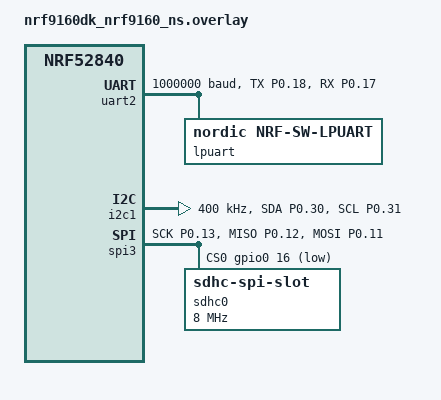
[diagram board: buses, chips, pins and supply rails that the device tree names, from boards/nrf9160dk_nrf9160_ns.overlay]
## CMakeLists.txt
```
#
# Copyright (c) 2018 Nordic Semiconductor
#
# SPDX-License-Identifier: LicenseRef-Nordic-5-Clause
#

cmake_minimum_required(VERSION 3.20.0)

find_package(Zephyr REQUIRED HINTS $ENV{ZEPHYR_BASE})
project(lte-ble-gateway)

# NORDIC SDK APP START
target_sources(app PRIVATE src/main.c)
# NORDIC SDK APP END
zephyr_include_directories(src)

include_directories(src/orientation_detector)
target_sources(app PRIVATE src/ble.c)
```

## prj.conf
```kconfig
#
# Copyright (c) 2019 Nordic Semiconductor ASA
#
# SPDX-License-Identifier: LicenseRef-Nordic-5-Clause
#
# General config
CONFIG_NEWLIB_LIBC=y
CONFIG_NEWLIB_LIBC_FLOAT_PRINTF=y
CONFIG_ASSERT=y
CONFIG_REBOOT=y

# Network
CONFIG_NETWORKING=y
CONFIG_NET_NATIVE=n
CONFIG_NET_SOCKETS=y
CONFIG_NET_SOCKETS_OFFLOAD=y

# AT host
CONFIG_AT_HOST_LIBRARY=y

# Modem library
CONFIG_NRF_MODEM_LIB=y
# Modem library fault handling
# CONFIG_NRF_MODEM_LIB_ON_FAULT_APPLICATION_SPECIFIC=y

# Disable Modem traces, since we need UART1 for HCI
CONFIG_NRF_MODEM_LIB_TRACE=n

# Modem info
CONFIG_MODEM_INFO=y
CONFIG_MODEM_INFO_ADD_NETWORK=y

# Logging
CONFIG_LOG=y
CONFIG_LTE_BLE_GW_LOG_LEVEL_INF=y

# Library for buttons and LEDs
CONFIG_DK_LIBRARY=y

# Console for user association
CONFIG_CONSOLE_SUBSYS=y
CONFIG_CONSOLE_GETCHAR=y

# Enable Bluetooth stack and libraries
CONFIG_BT=y
CONFIG_BT_H4=y
CONFIG_BT_WAIT_NOP=y
CONFIG_BT_PERIPHERAL=y
CONFIG_BT_DEVICE_NAME="Kobeni"
CONFIG_BT_MAX_CONN=1
CONFIG_BT_DEVICE_APPEARANCE=0

CONFIG_UART_INTERRUPT_DRIVEN=y

# Heap and stacks
CONFIG_HEAP_MEM_POOL_SIZE=16384
CONFIG_MAIN_STACK_SIZE=8192
CONFIG_SYSTEM_WORKQUEUE_STACK_SIZE=4096

CONFIG_LOG_BUFFER_SIZE=16384

CONFIG_GPIO=y

CONFIG_I2C=y

CONFIG_SPI=y
CONFIG_DISK_DRIVER_SDMMC=y
CONFIG_FILE_SYSTEM=y
CONFIG_FAT_FILESYSTEM_ELM=y
CONFIG_DISK_ACCESS=y
CONFIG_SD_UHS_PROTOCOL=y
CONFIG_FS_FATFS_EXFAT=y
CONFIG_SPI_SDHC=y

#GNSS Antenna
CONFIG_MODEM_ANTENNA_GNSS_EXTERNAL=y

# Request eDRX from the network
CONFIG_LTE_EDRX_REQ=y

# LTE link control
CONFIG_LTE_LINK_CONTROL=y
CONFIG_LTE_AUTO_INIT_AND_CONNECT=n
CONFIG_LTE_NETWORK_MODE_NBIOT_GPS=y
```

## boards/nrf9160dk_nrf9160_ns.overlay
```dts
#include <nrf9160dk_nrf52840_reset_on_if5.dtsi>

/ {
	chosen {
		zephyr,bt-uart=&lpuart;
	};
};

&gpiote {
	interrupts = <49 NRF_DEFAULT_IRQ_PRIORITY>;
};

&uart2 {
	current-speed = <1000000>;
	status = "okay";
	/delete-property/ hw-flow-control;

	pinctrl-0 = <&uart2_default_alt>;
	pinctrl-1 = <&uart2_sleep_alt>;
	pinctrl-names = "default", "sleep";
	lpuart: nrf-sw-lpuart {
		compatible = "nordic,nrf-sw-lpuart";
		status = "okay";
		req-pin = <21>; /* <&interface_to_nrf52840 3 0>; */
		rdy-pin = <19>; /* <&interface_to_nrf52840 2 0>; */
	};
};

&pinctrl {
	uart2_default_alt: uart2_default_alt {
		group1 {
			psels = <NRF_PSEL(UART_TX, 0, 18)>,
				<NRF_PSEL(UART_RX, 0, 17)>;
		};
	};

	uart2_sleep_alt: uart2_sleep_alt {
		group1 {
			psels = <NRF_PSEL(UART_TX, 0, 18)>,
				<NRF_PSEL(UART_RX, 0, 17)>;
			low-power-enable;
		};
	};

	i2c1_default: i2c1_default {
		group1 {
			psels = <NRF_PSEL(TWIM_SDA, 0, 30)>,
				<NRF_PSEL(TWIM_SCL, 0, 31)>;
		};
	};

	i2c1_sleep: i2c1_sleep {
		group1 {
			psels = <NRF_PSEL(TWIM_SDA, 0, 30)>,
				<NRF_PSEL(TWIM_SCL, 0, 31)>;
			low-power-enable;
		};
	};

	spi3_default: spi3_default {
		group1 {
			psels = <NRF_PSEL(SPIM_SCK, 0, 13)>,
				<NRF_PSEL(SPIM_MISO, 0, 12)>,
				<NRF_PSEL(SPIM_MOSI, 0, 11)>;
		};
	};

	spi3_sleep: spi3_sleep {
		group1 {
			psels = <NRF_PSEL(SPIM_SCK, 0, 13)>,
				<NRF_PSEL(SPIM_MISO, 0, 12)>,
				<NRF_PSEL(SPIM_MOSI, 0, 11)>;
			low-power-enable;
		};
	};
};

&i2c1 {
	status = "okay";
	compatible = "nordic,nrf-twim";
    pinctrl-0 = <&i2c1_default>;
	pinctrl-1 = <&i2c1_sleep>;
	clock-frequency = <400000>;
	pinctrl-names = "default", "sleep";
};

&i2c2 {
	status = "disabled";
};

&spi3 {
	compatible = "nordic,nrf-spim";
	status = "okay";
	cs-gpios = <&gpio0 16 GPIO_ACTIVE_LOW>;
	pinctrl-0 = <&spi3_default>;
	pinctrl-1 = <&spi3_sleep>;
	pinctrl-names = "default", "sleep";
	sdhc0: sdhc@0 {
		compatible = "zephyr,sdhc-spi-slot";
		reg = <0>;
		status = "okay";
		sdmmc-disk {
			compatible = "zephyr,sdmmc-disk";
			status = "okay";
		};
		spi-max-frequency = <8000000>;
	};
};
```

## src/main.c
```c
/*
 * Copyright (c) 2018 Nordic Semiconductor ASA
 *
 * SPDX-License-Identifier: LicenseRef-Nordic-5-Clause
 */

#include <zephyr/kernel.h>
#include <stdio.h>
#include <string.h>
#include <nrf_modem_at.h>
#include <nrf_modem_gnss.h>
#include <zephyr/drivers/sensor.h>
#include <zephyr/console/console.h>
#include <dk_buttons_and_leds.h>
#include <modem/lte_lc.h>
#include <zephyr/sys/reboot.h>
#include <modem/nrf_modem_lib.h>
#include <zephyr/logging/log.h>
#include <zephyr/drivers/i2c.h>
#include <zephyr/drivers/gpio.h>
#include <zephyr/storage/disk_access.h>
#include <zephyr/fs/fs.h>
#include <ff.h>
#include <zephyr/fs/fs_interface.h>

#define NRF_SPI_DRV_MISO_N

#include "ble.h"

LOG_MODULE_REGISTER(lte_ble_gw, CONFIG_LTE_BLE_GW_LOG_LEVEL);

struct device* i2c_accel;
uint8_t WhoAmI = 0u;
#define I2C_ACCEL_ADDR (0x19)
static struct k_work_delayable acc_fifo_h_loop;

struct device* gpio_dev;
static struct gpio_callback acc_int_callback;
static const char* disk_mount_pt = "/SD:";

int16_t tx_buffer[31] = { 0 };
int16_t rx_buffer[31] = { 0 };

static FATFS fat_fs;
/* mounting info */
static struct fs_mount_t mp = {
	.type = FS_FATFS,
	.fs_data = &fat_fs,
};

static int lsdir(const char *path);

/* Interval in milliseconds between each time status LEDs are updated. */
#define LEDS_UPDATE_INTERVAL K_MSEC(500)

/* Interval in microseconds between each time LEDs are updated when indicating
 * that an error has occurred.
 */
#define LEDS_ERROR_UPDATE_INTERVAL 250000

#define BUTTON_1 BIT(0)
#define BUTTON_2 BIT(1)
#define SWITCH_1 BIT(2)
#define SWITCH_2 BIT(3)

#define LED_ON(x) (x)
#define LED_BLINK(x) ((x) << 8)
#define LED_GET_ON(x) ((x)&0xFF)
#define LED_GET_BLINK(x) (((x) >> 8) & 0xFF)

 /* Interval in milliseconds after the device will retry cloud connection
  * if the event NRF_CLOUD_EVT_TRANSPORT_CONNECTED is not received.
  */
#define RETRY_CONNECT_WAIT K_MSEC(90000)

enum
{
	LEDS_INITIALIZING = LED_ON(0),
	LEDS_LTE_CONNECTING = LED_BLINK(DK_LED3_MSK),
	LEDS_LTE_CONNECTED = LED_ON(DK_LED3_MSK),
	LEDS_CLOUD_CONNECTING = LED_BLINK(DK_LED4_MSK),
	LEDS_CLOUD_PAIRING_WAIT = LED_BLINK(DK_LED3_MSK | DK_LED4_MSK),
	LEDS_CLOUD_CONNECTED = LED_ON(DK_LED4_MSK),
	LEDS_ERROR = LED_ON(DK_ALL_LEDS_MSK)
} display_state;

/* Variable to keep track of nRF cloud user association request. */
static atomic_val_t association_requested;

/* GNSS data */
static struct nrf_modem_gnss_pvt_data_frame pvt_data = { 0 };

/* Structures for work */
static struct k_work_delayable leds_update_work;
struct k_work_delayable aggregated_work;

static struct nrf_modem_gnss_pvt_data_frame last_pvt;
static bool nrf_modem_gnss_fix;

/* Forward declaration of functions. */
static void sensors_init(void);
static void work_init(void);

static void gnss_event_handler(int event_id)
{
	int err;

	struct nrf_modem_gnss_nmea_data_frame* nmea_data;
	/* Process event */
	switch (event_id)
	{
	case NRF_MODEM_GNSS_EVT_PVT:
		/* Read PVT data */
		err = nrf_modem_gnss_read(&pvt_data, sizeof(pvt_data),
			NRF_MODEM_GNSS_DATA_PVT);
		break;
	case NRF_MODEM_GNSS_EVT_BLOCKED:
		printk("GNSS Service blocked!\n");
		break;
	case NRF_MODEM_GNSS_EVT_UNBLOCKED:
		printk("GNSS Service unblocked!\n");
		break;
	default:
		break;
	}
}

static void gnss_init(void)
{
	int err;

	err = nrf_modem_gnss_event_handler_set(gnss_event_handler);
	if (err)
	{
		printk("Cannot set gnss event handler, error: %d\n", err);
		return;
	}

	uint16_t nmea_mask =
		NRF_MODEM_GNSS_NMEA_RMC_MASK | NRF_MODEM_GNSS_NMEA_GGA_MASK |
		NRF_MODEM_GNSS_NMEA_GLL_MASK | NRF_MODEM_GNSS_NMEA_GSA_MASK |
		NRF_MODEM_GNSS_NMEA_GSV_MASK;

	err = nrf_modem_gnss_nmea_mask_set(nmea_mask);
	if (err)
	{
		printk("Failed to set GNSS NMEA mask\n");
		return;
	}

	/* This use case flag should always be set. */
	uint8_t use_case = NRF_MODEM_GNSS_USE_CASE_MULTIPLE_HOT_START;
	use_case |= NRF_MODEM_GNSS_USE_CASE_SCHED_DOWNLOAD_DISABLE;

	err = nrf_modem_gnss_use_case_set(use_case);
	if (err)
	{
		printk("Failed to set GNSS use case\n");
		return;
	}

	uint8_t power_mode = NRF_MODEM_GNSS_PSM_DISABLED;

	err = nrf_modem_gnss_power_mode_set(power_mode);
	if (err)
	{
		printk("Failed to set GNSS power saving mode\n");
		return;
	}

	err = nrf_modem_gnss_fix_interval_set(1);
	if (err)
	{
		printk("Cannot set gnss fix interval, error: %d\n", err);
		return;
	}

	err = nrf_modem_gnss_fix_retry_set(0);
	if (err)
	{
		printk("Cannot set gnss fix retry, error: %d\n", err);
		return;
	}

	err = nrf_modem_gnss_start();
	if (err)
	{
		printk("Cannot initialize gnss, error: %d\n", err);
		return;
	}
}

static void modem_init(void)
{
	int err;

	if (IS_ENABLED(CONFIG_LTE_AUTO_INIT_AND_CONNECT))
	{
		/* Do nothing, modem is already configured and LTE connected. */
	}
	else
	{
		err = lte_lc_init();
		if (err)
		{
			printk("Modem initialization failed, error: %d\n", err);
			return;
		}

		enum lte_lc_func_mode func_mode = LTE_LC_FUNC_MODE_ACTIVATE_GNSS;
		err = lte_lc_func_mode_set(func_mode);
		if (err)
		{
			printk("Cannot activate GNSS, error: %d\n", err);
			return;
		}
	}
}

static void acc_int_handler(const struct device* port, struct gpio_callback* cb, gpio_port_pins_t pins)
{
	k_work_schedule(&acc_fifo_h_loop, K_NO_WAIT);
}

void acc_fifo_h_loop_fn()
{
	// LOG_INF("ACC INT Triggered");
	static bool led_state = false;

	// static int int_counter = 0;

	uint8_t interrupt;
	i2c_reg_read_byte(i2c_accel, I2C_ACCEL_ADDR, 0x31, &interrupt);
	// LOG_INF("INT: %02X", interrupt);

	int16_t x_data, y_data, z_data;
	for (int i = 0; i < 10; i++)
	{
		int8_t x_data_l, x_data_h, y_data_l, y_data_h, z_data_l, z_data_h;
		i2c_reg_read_byte(i2c_accel, I2C_ACCEL_ADDR, 0x28, &x_data_l);
		i2c_reg_read_byte(i2c_accel, I2C_ACCEL_ADDR, 0x29, &x_data_h);

		i2c_reg_read_byte(i2c_accel, I2C_ACCEL_ADDR, 0x2A, &y_data_l);
		i2c_reg_read_byte(i2c_accel, I2C_ACCEL_ADDR, 0x2B, &y_data_h);

		i2c_reg_read_byte(i2c_accel, I2C_ACCEL_ADDR, 0x2C, &z_data_l);
		i2c_reg_read_byte(i2c_accel, I2C_ACCEL_ADDR, 0x2D, &z_data_h);

		x_data = (((x_data_h << 8) | x_data_l) >> 6);
		y_data = (((y_data_h << 8) | y_data_l) >> 6);
		z_data = (((z_data_h << 8) | z_data_l) >> 6);

		tx_buffer[(i * 3)] = x_data;
		tx_buffer[(i * 3) + 1] = y_data;
		tx_buffer[(i * 3) + 2] = z_data;
	}

	tx_buffer[30] = pvt_data.speed * 3.6;

	// for (int i = 0; i < 31; i++)
	// {
	// 	printk("%5d ", tx_buffer[i]);
	// }

	// printk("\r\n");

	// 	if (!led_state)
	// 	{
	// 		dk_set_leds_state(0x01, DK_LED1_MSK);
	// 	}
	// 	else
	// 	{
	// 		dk_set_leds_state(0x00, DK_LED1_MSK);
	// 	}
	// 	led_state = !led_state;
	// }
}

/**@brief Update LEDs state. */
static void leds_update(struct k_work* work)
{
	static bool led_on;
	static uint8_t current_led_on_mask;
	uint8_t led_on_mask = current_led_on_mask;

	ARG_UNUSED(work);

	/* Reset LED3 and LED4. */
	led_on_mask &= ~(DK_LED3_MSK | DK_LED4_MSK);

	/* Set LED3 and LED4 to match current state. */
	led_on_mask |= LED_GET_ON(display_state);

	led_on = !led_on;
	if (led_on)
	{
		led_on_mask |= LED_GET_BLINK(display_state);
	}
	else
	{
		led_on_mask &= ~LED_GET_BLINK(display_state);
	}

	if (led_on_mask != current_led_on_mask)
	{
		dk_set_leds(led_on_mask);
		current_led_on_mask = led_on_mask;
	}

	k_work_schedule(&leds_update_work, LEDS_UPDATE_INTERVAL);
}

/**@brief Callback for button events from the DK buttons and LEDs library. */
static void button_handler(uint32_t buttons, uint32_t has_changed)
{
	LOG_INF("button_handler: button 1: %u, button 2: %u "
		"switch 1: %u, switch 2: %u",
		(bool)(buttons & BUTTON_1), (bool)(buttons & BUTTON_2), (bool)(buttons & SWITCH_1),
		(bool)(buttons & SWITCH_2));
}

/**@brief Initializes and submits delayed work. */
static void work_init(void)
{
	k_work_init_delayable(&leds_update_work, leds_update);
	k_work_schedule(&leds_update_work, LEDS_UPDATE_INTERVAL);
}

/**@brief Initializes buttons and LEDs, using the DK buttons and LEDs
 * library.
 */
static void buttons_leds_init(void)
{
	int err;

	err = dk_buttons_init(button_handler);
	if (err)
	{
		LOG_ERR("Could not initialize buttons, err code: %d", err);
	}

	err = dk_leds_init();
	if (err)
	{
		LOG_ERR("Could not initialize leds, err code: %d", err);
	}

	err = dk_set_leds_state(0x00, DK_ALL_LEDS_MSK);
	if (err)
	{
		LOG_ERR("Could not set leds state, err code: %d", err);
	}
}

uint8_t init_accelerometer()
{
	i2c_accel = DEVICE_DT_GET(DT_N_NODELABEL_i2c1);
	if (!i2c_accel)
	{
		printk("error\n");
		return -1;
	}
	else
	{
		i2c_configure(i2c_accel, I2C_SPEED_SET(I2C_SPEED_STANDARD));
		return 0;
	}
}

void main(void)
{
	LOG_INF("LTE Sensor Gateway sample started");

	buttons_leds_init();

	modem_init();

	gnss_init();

	gpio_dev = DEVICE_DT_GET(DT_NODELABEL(gpio0));

	int err;
	if (!device_is_ready(gpio_dev))
	{
		LOG_ERR("GPIO is not ready");
	}

	err = gpio_pin_configure(gpio_dev, 10, GPIO_INPUT | GPIO_ACTIVE_LOW);
	if (err)
	{
		LOG_ERR("GPIO pin10 IN counfiguration failed");
	}

	k_work_init_delayable(&acc_fifo_h_loop, acc_fifo_h_loop_fn);

	gpio_init_callback(&acc_int_callback, acc_int_handler, BIT(10));
	gpio_add_callback(gpio_dev, &acc_int_callback);
	gpio_pin_interrupt_configure(gpio_dev, 10, GPIO_INT_EDGE_RISING);

	static const char* disk_pdrv = "SD";
	uint64_t memory_size_mb;
	uint32_t block_count;
	uint32_t block_size;

	err = disk_access_init(disk_pdrv);
	if (err != 0)
	{
		LOG_ERR("Storage init ERROR!: %d", err);
	}

	if (disk_access_ioctl(disk_pdrv, DISK_IOCTL_GET_SECTOR_COUNT, &block_count))
	{
		LOG_ERR("Unable to get sector count");
	}
	LOG_INF("Block count %u", block_count);

	if (disk_access_ioctl(disk_pdrv, DISK_IOCTL_GET_SECTOR_SIZE, &block_size))
	{
		LOG_ERR("Unable to get sector size");
	}
	printk("Sector size %u\n", block_size);

	memory_size_mb = (uint64_t)block_count * block_size;
	printk("Memory Size(MB) %u\n", (uint32_t)(memory_size_mb >> 20));

	mp.mnt_point = disk_mount_pt;

	int res = fs_mount(&mp);

	if (res == FR_OK) {
		printk("Disk mounted.\n");
		lsdir(disk_mount_pt);
	} else {
		printk("Error mounting disk.\n");
	}

	const uint8_t* test_data = "Hello from nrf9160dk!\r\n";
	
	struct fs_file_t fp;
	res = fs_open(&fp, "/SD:/test.txt", FA_READ | FA_WRITE | FA_OPEN_APPEND);
	if (res == FR_OK) {
		printk("File opened\r\n");
	} else {
		printk("Cannot open file %d\r\n", res);
	}

	res = fs_write(&fp, test_data, strlen(test_data));
	if (res >= 0) {
		printk("Data written successfully\r\n");
	} else {
		printk("Cannot write data\r\n");
	}

	fs_close(&fp);

	printk("GNSS sample has started\n");

	ble_init();

	work_init();

	if (0 != init_accelerometer())
	{
		printk("Cannot initialize i2c\r\n");
		return;
	}

	if (i2c_reg_read_byte(i2c_accel, I2C_ACCEL_ADDR, 0x0F, &WhoAmI) != 0)
	{
		printk("Error on i2c_read()\n");
		return;
	}

	if (i2c_reg_write_byte(i2c_accel, I2C_ACCEL_ADDR, 0x20, 0x57) != 0) // All axis, 100 Hz, Normal mode
	{
		printk("Error on i2c write to CTRL1\n");
		return;
	}

	if (i2c_reg_write_byte(i2c_accel, I2C_ACCEL_ADDR, 0x21, 0x18) != 0) // 1Hz HP Cutoff
	{
		printk("Error on i2c write to CTRL2\n");
		return;
	}

	if (i2c_reg_write_byte(i2c_accel, I2C_ACCEL_ADDR, 0x22, 0x04) != 0) // WTM
	{
		printk("Error on i2c write to CTRL3\n");
		return;
	}

	if (i2c_reg_write_byte(i2c_accel, I2C_ACCEL_ADDR, 0x23, 0x08) != 0)
	{
		printk("Error on i2c write to CTRL4\n");
		return;
	}

	if (i2c_reg_write_byte(i2c_accel, I2C_ACCEL_ADDR, 0x24, 0x48) != 0) // FIFO, INT1 latched
	{
		printk("Error on i2c write to CTRL5\n");
		return;
	}

	if (i2c_reg_write_byte(i2c_accel, I2C_ACCEL_ADDR, 0x30, 0x2A) != 0)
	{
		printk("Error on i2c write to INT1_CFG\n");
		return;
	}

	if (i2c_reg_write_byte(i2c_accel, I2C_ACCEL_ADDR, 0x2E, 0x00) != 0) // Clear FIFO
	{
		printk("Error on i2c write to CTRL5\n");
		return;
	}

	if (i2c_reg_write_byte(i2c_accel, I2C_ACCEL_ADDR, 0x2E, 0x8A) != 0) // Stream Mode, 10 samples WTM
	{
		printk("Error on i2c write to CTRL5\n");
		return;
	}

	printk("WhoAmI = 0x%02X\r\n", WhoAmI);
}

static int lsdir(const char *path)
{
	int res;
	struct fs_dir_t dirp;
	static struct fs_dirent entry;

	fs_dir_t_init(&dirp);

	/* Verify fs_opendir() */
	res = fs_opendir(&dirp, path);
	if (res) {
		printk("Error opening dir %s [%d]\n", path, res);
		return res;
	}

	printk("\nListing dir %s ...\n", path);
	for (;;) {
		/* Verify fs_readdir() */
		res = fs_readdir(&dirp, &entry);

		/* entry.name[0] == 0 means end-of-dir */
		if (res || entry.name[0] == 0) {
			break;
		}

		if (entry.type == FS_DIR_ENTRY_DIR) {
			printk("[DIR ] %s\n", entry.name);
		} else {
			printk("[FILE] %s (size = %zu)\n",
				entry.name, entry.size);
		}
	}

	/* Verify fs_closedir() */
	fs_closedir(&dirp);

	return res;
}
```

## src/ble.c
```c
/*
 * Copyright (c) 2018 Nordic Semiconductor ASA
 *
 * SPDX-License-Identifier: LicenseRef-Nordic-5-Clause
 */

#include <zephyr/kernel.h>

#include <bluetooth/gatt_dm.h>
#include <zephyr/bluetooth/bluetooth.h>
#include <zephyr/bluetooth/gatt.h>
#include <zephyr/bluetooth/uuid.h>

#include <dk_buttons_and_leds.h>
#include <zephyr/sys/byteorder.h>

#include <zephyr/logging/log.h>
#include <nrfx_gpiote.h>
#include <zephyr/drivers/gpio.h>
#include <zephyr/device.h>

#include "ble.h"

LOG_MODULE_DECLARE(lte_ble_gw);

static K_SEM_DEFINE(bt_init_ok, 0, 1);

#define DEVICE_NAME CONFIG_BT_DEVICE_NAME
#define DEVICE_NAME_LEN (sizeof(DEVICE_NAME) - 1)

void on_connected(struct bt_conn* conn, uint8_t err);
void on_disconnected(struct bt_conn* conn, uint8_t reason);
void on_notif_changed(enum bt_button_notifications_enabled status);
int send_bt_notification(struct bt_conn *conn, uint8_t value, uint16_t length);
static struct k_work_delayable notification_loop;

static struct bt_conn* current_conn;
enum bt_button_notifications_enabled notifications_enabled = BT_BUTTON_NOTIFICATIONS_DISABLED;

static struct bt_conn_cb bluetooth_callbacks = {
    .connected = on_connected,
    .disconnected = on_disconnected,
};

static struct bt_remote_service_cb remote_serv_callbacks = {
  .notif_changed = on_notif_changed,
};

void on_connected(struct bt_conn* conn, uint8_t err)
{
  if (err)
  {
    LOG_ERR("Connection err: %d", err);
    return;
  }

  LOG_INF("Connected");
  current_conn = bt_conn_ref(conn);

  uint16_t current_mtu = bt_gatt_get_mtu(current_conn);
  LOG_INF("Current MTU: %d", current_mtu);
}

void on_disconnected(struct bt_conn* conn, uint8_t reason)
{
  LOG_INF("Disconnected (reason: %d)", reason);
  if (current_conn)
  {
    bt_conn_unref(current_conn);
    current_conn = NULL;
  }
}

void on_notif_changed(enum bt_button_notifications_enabled status)
{
  if (status == BT_BUTTON_NOTIFICATIONS_ENABLED) {
    LOG_INF("Notifications enabled");
  } else {
    LOG_INF("Notifications disabled");
  }
}

void notification_loop_fn()
{
  static uint8_t counter = 0;

  if (notifications_enabled == BT_BUTTON_NOTIFICATIONS_ENABLED)
  {
    send_bt_notification(current_conn, counter, 1);
    counter++;
  }
  k_work_schedule(&notification_loop, K_SECONDS(1));
}

static uint8_t button_value = 0;

void button_chrc_ccc_cfg_changed(const struct bt_gatt_attr *attr, uint16_t value);

static ssize_t read_button_characteristic_cb(struct bt_conn* conn, const struct bt_gatt_attr* attr,
  void* buf, uint16_t len, uint16_t offset);

BT_GATT_SERVICE_DEFINE(remote_srv,
  BT_GATT_PRIMARY_SERVICE(BT_UUID_REMOTE_SERVICE),
  BT_GATT_CHARACTERISTIC(BT_UUID_REMOTE_BUTTON_CHRC,
    BT_GATT_CHRC_READ | BT_GATT_CHRC_NOTIFY,
    BT_GATT_PERM_READ,
    read_button_characteristic_cb, NULL, NULL),
    BT_GATT_CCC(button_chrc_ccc_cfg_changed, BT_GATT_PERM_READ | BT_GATT_PERM_WRITE),
  );

void button_chrc_ccc_cfg_changed(const struct bt_gatt_attr *attr, uint16_t value)
{
  bool notif_enabled = (value == BT_GATT_CCC_NOTIFY);
  // LOG_INF("Notifications %s", notif_enabled ? "enabled" : "disabled");

  notifications_enabled = notif_enabled ? BT_BUTTON_NOTIFICATIONS_ENABLED : BT_BUTTON_NOTIFICATIONS_DISABLED;

  if (remote_serv_callbacks.notif_changed) {
    remote_serv_callbacks.notif_changed(notifications_enabled);
  }
}

static ssize_t read_button_characteristic_cb(struct bt_conn* conn, const struct bt_gatt_attr* attr,
  void* buf, uint16_t len, uint16_t offset)
{
  ssize_t ret_size = bt_gatt_attr_read(conn, attr, buf, len, offset, &button_value, sizeof(button_value));
  button_value++;
  return ret_size;
}

static const struct bt_data ad[] = {
    BT_DATA_BYTES(BT_DATA_FLAGS, (BT_LE_AD_GENERAL | BT_LE_AD_NO_BREDR)),
    BT_DATA(BT_DATA_NAME_COMPLETE, DEVICE_NAME, DEVICE_NAME_LEN) };

static const struct bt_data sd[] = {
    BT_DATA_BYTES(BT_DATA_UUID128_ALL, BT_UUID_REMOTE_SERV_VAL),
};

uint32_t counter = 0;

void on_sent(struct bt_conn *conn, void *user_data)
{
  ARG_UNUSED(user_data);
  LOG_INF("%d, Notification sent on connection  %p", counter, (void *) conn);
  counter++;
}

int send_bt_notification(struct bt_conn *conn, uint8_t value, uint16_t length) 
{
  int err = 0;

  struct bt_gatt_notify_params params = {0};
  const struct bt_gatt_attr *attr = &remote_srv.attrs[2];
  params.attr = attr;
  params.data = "01234567890123456789";
  params.len = strlen(params.data);
  params.func = on_sent;

  // dk_set_leds_state(0x01, DK_LED1_MSK);
  // err = bt_gatt_notify_cb(conn, &params);
  // dk_set_leds_state(0x00, DK_LED1_MSK);

  dk_set_leds_state(((counter % 2) == 0) ? 0x1 : 0x0, DK_LED1_MSK);
  bt_gatt_notify(conn, attr, (void*)&counter, 4);
  counter++;

  return err;
}

static void ble_ready(int err)
{
  LOG_INF("Bluetooth ready");
  k_sem_give(&bt_init_ok);
}

int ble_init(void)
{
  int err;

  LOG_INF("Initializing Bluetooth..");

  bt_conn_cb_register(&bluetooth_callbacks);

  err = bt_enable(ble_ready);
  if (err)
  {
    LOG_ERR("Bluetooth init failed (err %d)", err);
    return err;
  }

  k_sem_take(&bt_init_ok, K_FOREVER);

  err = bt_le_adv_start(BT_LE_ADV_CONN, ad, ARRAY_SIZE(ad), sd, ARRAY_SIZE(sd));
  if (err)
  {
    LOG_ERR("Couldn't start advertising (err = %d)", err);
    return err;
  }

  k_work_init_delayable(&notification_loop, notification_loop_fn);

  err = dk_leds_init();
	if (err)
	{
		LOG_ERR("Could not initialize leds, err code: %d", err);
	}

  err = dk_set_leds_state(0x00, DK_LED1_MSK);
  
	if (err)
	{
		LOG_ERR("Could not set leds state, err code: %d", err);
	}

  k_work_schedule(&notification_loop, K_NO_WAIT);

  return err;
}
```

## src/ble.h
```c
/*
 * Copyright (c) 2018 Nordic Semiconductor ASA
 *
 * SPDX-License-Identifier: LicenseRef-Nordic-5-Clause
 */

#ifndef _BLE_H_
#define _BLE_H_

#include <stdint.h>

/** @brief UUID of the Remote Service. **/
#define BT_UUID_REMOTE_SERV_VAL \
	BT_UUID_128_ENCODE(0xe9ea0001, 0xe19b, 0x482d, 0x9293, 0xc7907585fc48)

/** @brief UUID of the Button Characteristic. **/
#define BT_UUID_REMOTE_BUTTON_CHRC_VAL \
	BT_UUID_128_ENCODE(0xe9ea0002, 0xe19b, 0x482d, 0x9293, 0xc7907585fc48)

/** @brief UUID of the Message Characteristic. **/
#define BT_UUID_REMOTE_MESSAGE_CHRC_VAL \
	BT_UUID_128_ENCODE(0xe9ea0003, 0xe19b, 0x482d, 0x9293, 0xc7907585fc48)

#define BT_UUID_REMOTE_SERVICE          BT_UUID_DECLARE_128(BT_UUID_REMOTE_SERV_VAL)
#define BT_UUID_REMOTE_BUTTON_CHRC 	    BT_UUID_DECLARE_128(BT_UUID_REMOTE_BUTTON_CHRC_VAL)
#define BT_UUID_REMOTE_MESSAGE_CHRC     BT_UUID_DECLARE_128(BT_UUID_REMOTE_MESSAGE_CHRC_VAL)



enum bt_button_notifications_enabled {
	BT_BUTTON_NOTIFICATIONS_ENABLED,
	BT_BUTTON_NOTIFICATIONS_DISABLED,
};

struct bt_remote_service_cb {
	void (*notif_changed)(enum bt_button_notifications_enabled status);
    void (*data_received)(struct bt_conn *conn, const uint8_t *const data, uint16_t len);
};

int ble_init(void);

#endif /* _BLE_H_ */
```
